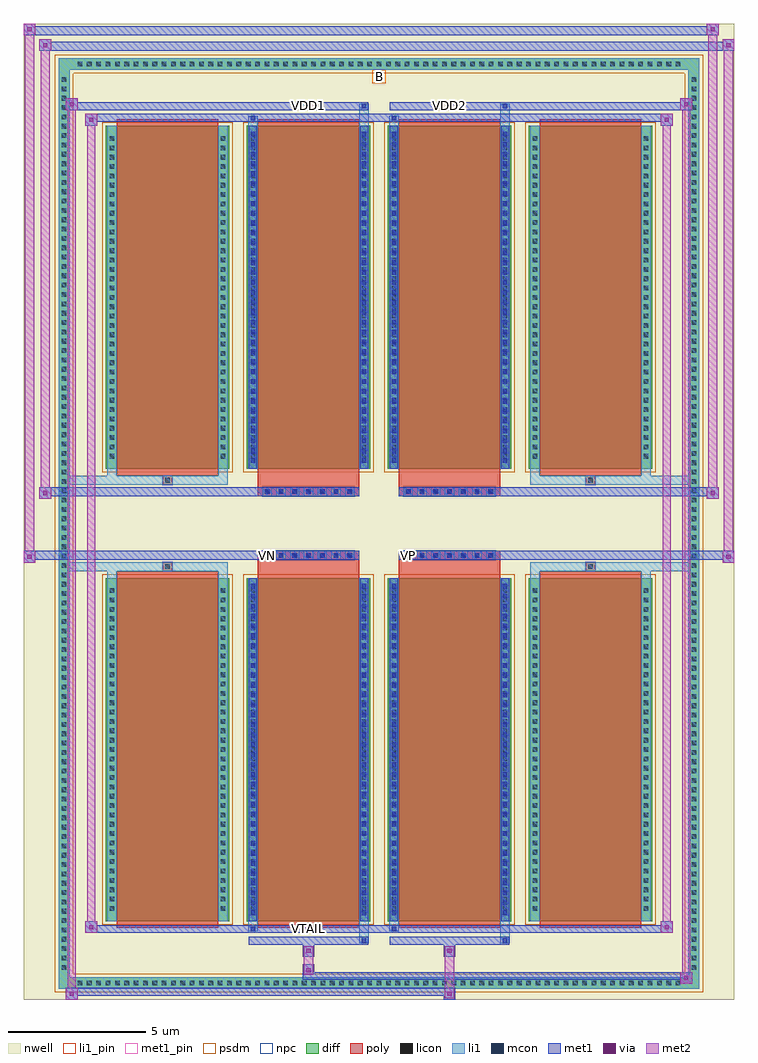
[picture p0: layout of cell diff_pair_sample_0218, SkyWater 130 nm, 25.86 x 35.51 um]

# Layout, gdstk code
import gdstk
lib = gdstk.Library(unit=1e-6, precision=5e-09)
def R(c, l, rs):  # rectangles x0, y0, x1, y1
    for r in rs: c.add(gdstk.rectangle(r[:2], r[2:], *l))
def A(c, l, x, y, w, h, nx, ny, dx, dy):  # array of equal rectangles
    R(c, l, [(x+i*dx, y+j*dy, x+i*dx+w, y+j*dy+h) for i in range(nx) for j in range(ny)])
def P(c, l, *ps):  # polygons
    for p in ps: c.add(gdstk.Polygon(p, *l))
nwell = (64, 20)
diff = (65, 20)
poly = (66, 20)
licon = (66, 44)
li1_pin = (67, 16)
li1 = (67, 20)
mcon = (67, 44)
met1_pin = (68, 16)
met1 = (68, 20)
via = (68, 44)
met2 = (69, 20)
psdm = (94, 20)
npc = (95, 20)

diff_pair_sample_0218 = lib.new_cell('diff_pair_sample_0218')
R(diff_pair_sample_0218, nwell, [(-12.93,-17.32,12.93,18.19), (-10.25,-15.51,-0.01,-0.795), (0.01,-15.51,10.25,-0.795), (-10.25,0.795,-0.01,15.51), (0.01,0.795,10.25,15.51)])
A(diff_pair_sample_0218, diff, -11.085, -16.92, 0.41, 0.41, 65, 2, 0.34, 33.43)
A(diff_pair_sample_0218, diff, -11.66, -16.355, 0.41, 0.41, 1, 96, 0, 0.34)
A(diff_pair_sample_0218, diff, 11.25, -16.355, 0.41, 0.41, 1, 96, 0, 0.34)
A(diff_pair_sample_0218, diff, -9.94, -14.465, 4.49, 12.48, 4, 2, 5.13, 16.45)
R(diff_pair_sample_0218, diff, [(-11.085,-16.92,11.085,-16.51), (-11.66,-16.355,-11.25,16.355), (11.25,-16.355,11.66,16.355), (-11.085,16.51,11.085,16.92)])
P(diff_pair_sample_0218, diff, [(11.66,16.92),(-11.66,16.92),(-11.66,-16.51),(-11.25,-16.51),(-11.25,16.51),(11.25,16.51),(11.25,-16.51),(-11.25,-16.51),(-11.66,-16.51),(-11.66,-16.92),(11.66,-16.92)])
A(diff_pair_sample_0218, poly, -9.55, -14.715, 3.71, 12.98, 4, 2, 5.13, 16.45)
A(diff_pair_sample_0218, poly, -4.23, -1.325, 0.33, 0.33, 7, 2, 0.5, 2.32)
A(diff_pair_sample_0218, poly, 0.9, -1.325, 0.33, 0.33, 7, 2, 0.5, 2.32)
R(diff_pair_sample_0218, poly, [(-7.86,-1.735,-7.53,-1.405), (-7.86,-1.735,-7.53,-1.405), (-4.42,-1.735,-0.71,-1.325), (0.71,-1.735,4.42,-1.325), (7.53,-1.735,7.86,-1.405), (7.53,-1.735,7.86,-1.405), (-4.42,-1.325,-0.71,-0.995), (0.71,-1.325,4.42,-0.995), (-4.42,0.995,-0.71,1.325), (0.71,0.995,4.42,1.325), (-4.42,1.325,-0.71,1.735), (0.71,1.325,4.42,1.735), (-7.86,1.405,-7.53,1.735), (-7.86,1.405,-7.53,1.735), (7.53,1.405,7.86,1.735), (7.53,1.405,7.86,1.735)])
A(diff_pair_sample_0218, licon, -10.965, -16.8, 0.17, 0.17, 65, 2, 0.34, 33.43)
A(diff_pair_sample_0218, licon, -11.54, -16.235, 0.17, 0.17, 1, 96, 0, 0.34)
A(diff_pair_sample_0218, licon, 11.37, -16.235, 0.17, 0.17, 1, 96, 0, 0.34)
A(diff_pair_sample_0218, licon, -9.8, -14.09, 0.17, 0.17, 1, 35, 0, 0.34)
A(diff_pair_sample_0218, licon, -5.76, -14.09, 0.17, 0.17, 1, 35, 0, 0.34)
A(diff_pair_sample_0218, licon, -4.67, -14.09, 0.17, 0.17, 1, 35, 0, 0.34)
A(diff_pair_sample_0218, licon, -0.63, -14.09, 0.17, 0.17, 1, 35, 0, 0.34)
A(diff_pair_sample_0218, licon, 0.46, -14.09, 0.17, 0.17, 1, 35, 0, 0.34)
A(diff_pair_sample_0218, licon, 4.5, -14.09, 0.17, 0.17, 1, 35, 0, 0.34)
A(diff_pair_sample_0218, licon, 5.59, -14.09, 0.17, 0.17, 1, 35, 0, 0.34)
A(diff_pair_sample_0218, licon, 9.63, -14.09, 0.17, 0.17, 1, 35, 0, 0.34)
A(diff_pair_sample_0218, licon, -4.15, -1.245, 0.17, 0.17, 7, 2, 0.5, 2.32)
A(diff_pair_sample_0218, licon, 0.98, -1.245, 0.17, 0.17, 7, 2, 0.5, 2.32)
A(diff_pair_sample_0218, licon, -9.8, 2.36, 0.17, 0.17, 1, 35, 0, 0.34)
A(diff_pair_sample_0218, licon, -5.76, 2.36, 0.17, 0.17, 1, 35, 0, 0.34)
A(diff_pair_sample_0218, licon, -4.67, 2.36, 0.17, 0.17, 1, 35, 0, 0.34)
A(diff_pair_sample_0218, licon, -0.63, 2.36, 0.17, 0.17, 1, 35, 0, 0.34)
A(diff_pair_sample_0218, licon, 0.46, 2.36, 0.17, 0.17, 1, 35, 0, 0.34)
A(diff_pair_sample_0218, licon, 4.5, 2.36, 0.17, 0.17, 1, 35, 0, 0.34)
A(diff_pair_sample_0218, licon, 5.59, 2.36, 0.17, 0.17, 1, 35, 0, 0.34)
A(diff_pair_sample_0218, licon, 9.63, 2.36, 0.17, 0.17, 1, 35, 0, 0.34)
R(diff_pair_sample_0218, licon, [(-7.78,-1.655,-7.61,-1.485), (7.61,-1.655,7.78,-1.485), (-7.78,1.485,-7.61,1.655), (7.61,1.485,7.78,1.655)])
R(diff_pair_sample_0218, li1_pin, [(-0.25,16.01,0.25,16.51)])
A(diff_pair_sample_0218, li1, -11.045, -16.88, 0.33, 0.33, 65, 2, 0.34, 33.43)
A(diff_pair_sample_0218, li1, -11.62, -16.315, 0.33, 0.33, 1, 96, 0, 0.34)
A(diff_pair_sample_0218, li1, 11.29, -16.315, 0.33, 0.33, 1, 96, 0, 0.34)
A(diff_pair_sample_0218, li1, -4.67, -14.25, 0.17, 0.17, 1, 34, 0, 0.36)
A(diff_pair_sample_0218, li1, -0.63, -14.25, 0.17, 0.17, 1, 34, 0, 0.36)
A(diff_pair_sample_0218, li1, 0.46, -14.25, 0.17, 0.17, 1, 34, 0, 0.36)
A(diff_pair_sample_0218, li1, 4.5, -14.25, 0.17, 0.17, 1, 34, 0, 0.36)
A(diff_pair_sample_0218, li1, -9.88, -14.17, 0.33, 0.33, 1, 35, 0, 0.34)
A(diff_pair_sample_0218, li1, -5.84, -14.17, 0.33, 0.33, 1, 35, 0, 0.34)
A(diff_pair_sample_0218, li1, -4.75, -14.17, 0.33, 0.33, 1, 35, 0, 0.34)
A(diff_pair_sample_0218, li1, -0.71, -14.17, 0.33, 0.33, 1, 35, 0, 0.34)
A(diff_pair_sample_0218, li1, 0.38, -14.17, 0.33, 0.33, 1, 35, 0, 0.34)
A(diff_pair_sample_0218, li1, 4.42, -14.17, 0.33, 0.33, 1, 35, 0, 0.34)
A(diff_pair_sample_0218, li1, 5.51, -14.17, 0.33, 0.33, 1, 35, 0, 0.34)
A(diff_pair_sample_0218, li1, 9.55, -14.17, 0.33, 0.33, 1, 35, 0, 0.34)
A(diff_pair_sample_0218, li1, -4.23, -1.325, 0.33, 0.33, 7, 2, 0.5, 2.32)
A(diff_pair_sample_0218, li1, 0.9, -1.325, 0.33, 0.33, 7, 2, 0.5, 2.32)
A(diff_pair_sample_0218, li1, -4.67, 2.2, 0.17, 0.17, 1, 34, 0, 0.36)
A(diff_pair_sample_0218, li1, -0.63, 2.2, 0.17, 0.17, 1, 34, 0, 0.36)
A(diff_pair_sample_0218, li1, 0.46, 2.2, 0.17, 0.17, 1, 34, 0, 0.36)
A(diff_pair_sample_0218, li1, 4.5, 2.2, 0.17, 0.17, 1, 34, 0, 0.36)
A(diff_pair_sample_0218, li1, -9.88, 2.28, 0.33, 0.33, 1, 35, 0, 0.34)
A(diff_pair_sample_0218, li1, -5.84, 2.28, 0.33, 0.33, 1, 35, 0, 0.34)
A(diff_pair_sample_0218, li1, -4.75, 2.28, 0.33, 0.33, 1, 35, 0, 0.34)
A(diff_pair_sample_0218, li1, -0.71, 2.28, 0.33, 0.33, 1, 35, 0, 0.34)
A(diff_pair_sample_0218, li1, 0.38, 2.28, 0.33, 0.33, 1, 35, 0, 0.34)
A(diff_pair_sample_0218, li1, 4.42, 2.28, 0.33, 0.33, 1, 35, 0, 0.34)
A(diff_pair_sample_0218, li1, 5.51, 2.28, 0.33, 0.33, 1, 35, 0, 0.34)
A(diff_pair_sample_0218, li1, 9.55, 2.28, 0.33, 0.33, 1, 35, 0, 0.34)
R(diff_pair_sample_0218, li1, [(-11.66,-16.92,-11.25,-16.51), (-11.66,-16.92,-11.25,-16.51), (-11.25,-16.92,11.25,-16.51), (11.25,-16.92,11.66,-16.51), (11.25,-16.92,11.66,-16.51), (-11.66,-16.51,-11.25,16.51), (11.25,-16.51,11.66,16.51), (-0.71,-15.27,-0.38,-14.465), (-0.63,-15.27,-0.46,-15.1), (4.42,-15.27,4.75,-14.465), (4.5,-15.27,4.67,-15.1), (-4.75,-14.84,-4.42,-14.465), (-4.67,-14.84,-4.5,-14.67), (0.38,-14.84,0.71,-14.465), (0.46,-14.84,0.63,-14.67), (-9.88,-14.465,-9.55,-1.985), (-5.84,-14.465,-5.51,-1.985), (-4.75,-14.465,-4.42,-1.985), (-0.71,-14.465,-0.38,-1.985), (0.38,-14.465,0.71,-1.985), (4.42,-14.465,4.75,-1.985), (5.51,-14.465,5.84,-1.985), (9.55,-14.465,9.88,-1.985), (-4.67,-14.25,-4.5,-2.2), (-0.63,-14.25,-0.46,-2.2), (0.46,-14.25,0.63,-2.2), (4.5,-14.25,4.67,-2.2), (-9.88,-1.985,-9.55,-1.405), (-5.84,-1.985,-5.51,-1.405), (5.51,-1.985,5.84,-1.405), (9.55,-1.985,9.88,-1.405), (-11.66,-1.735,-7.86,-1.405), (-9.88,-1.735,-7.86,-1.405), (-7.86,-1.735,-7.53,-1.405), (-7.53,-1.735,-5.51,-1.405), (5.51,-1.735,7.53,-1.405), (7.53,-1.735,7.86,-1.405), (7.53,-1.735,11.66,-1.405), (7.86,-1.735,9.88,-1.405), (-11.66,1.405,-7.86,1.735), (-9.88,1.405,-7.86,1.735), (-9.88,1.405,-9.55,1.985), (-7.86,1.405,-7.53,1.735), (-7.53,1.405,-5.51,1.735), (-5.84,1.405,-5.51,1.985), (5.51,1.405,7.53,1.735), (5.51,1.405,5.84,1.985), (7.53,1.405,7.86,1.735), (7.53,1.405,11.66,1.735), (7.86,1.405,9.88,1.735), (9.55,1.405,9.88,1.985), (-9.88,1.985,-9.55,14.465), (-5.84,1.985,-5.51,14.465), (-4.75,1.985,-4.42,14.465), (-0.71,1.985,-0.38,14.465), (0.38,1.985,0.71,14.465), (4.42,1.985,4.75,14.465), (5.51,1.985,5.84,14.465), (9.55,1.985,9.88,14.465), (-4.67,2.2,-4.5,14.25), (-0.63,2.2,-0.46,14.25), (0.46,2.2,0.63,14.25), (4.5,2.2,4.67,14.25), (-4.75,14.465,-4.42,14.84), (-0.71,14.465,-0.38,15.27), (0.38,14.465,0.71,14.84), (4.42,14.465,4.75,15.27), (-4.67,14.67,-4.5,14.84), (0.46,14.67,0.63,14.84), (-0.63,15.1,-0.46,15.27), (4.5,15.1,4.67,15.27), (-11.66,16.51,-11.25,16.92), (-11.66,16.51,-11.25,16.92), (-11.25,16.51,11.25,16.92), (11.25,16.51,11.66,16.92), (11.25,16.51,11.66,16.92)])
A(diff_pair_sample_0218, mcon, -4.67, -14.25, 0.17, 0.17, 1, 34, 0, 0.36)
A(diff_pair_sample_0218, mcon, -0.63, -14.25, 0.17, 0.17, 1, 34, 0, 0.36)
A(diff_pair_sample_0218, mcon, 0.46, -14.25, 0.17, 0.17, 1, 34, 0, 0.36)
A(diff_pair_sample_0218, mcon, 4.5, -14.25, 0.17, 0.17, 1, 34, 0, 0.36)
A(diff_pair_sample_0218, mcon, -4.15, -1.245, 0.17, 0.17, 7, 2, 0.5, 2.32)
A(diff_pair_sample_0218, mcon, 0.98, -1.245, 0.17, 0.17, 7, 2, 0.5, 2.32)
A(diff_pair_sample_0218, mcon, -4.67, 2.2, 0.17, 0.17, 1, 34, 0, 0.36)
A(diff_pair_sample_0218, mcon, -0.63, 2.2, 0.17, 0.17, 1, 34, 0, 0.36)
A(diff_pair_sample_0218, mcon, 0.46, 2.2, 0.17, 0.17, 1, 34, 0, 0.36)
A(diff_pair_sample_0218, mcon, 4.5, 2.2, 0.17, 0.17, 1, 34, 0, 0.36)
R(diff_pair_sample_0218, mcon, [(-0.63,-15.27,-0.46,-15.1), (4.5,-15.27,4.67,-15.1), (-4.67,-14.84,-4.5,-14.67), (0.46,-14.84,0.63,-14.67), (-4.67,14.67,-4.5,14.84), (0.46,14.67,0.63,14.84), (-0.63,15.1,-0.46,15.27), (4.5,15.1,4.67,15.27)])
R(diff_pair_sample_0218, met1_pin, [(-2.7,-14.88,-2.43,-14.61), (-4.2,-1.285,-3.93,-1.015), (0.93,-1.285,1.2,-1.015), (-2.7,15.06,-2.43,15.33), (2.43,15.06,2.7,15.33)])
A(diff_pair_sample_0218, met1, -4.73, -14.31, 0.29, 0.29, 1, 34, 0, 0.36)
A(diff_pair_sample_0218, met1, -0.69, -14.31, 0.29, 0.29, 1, 34, 0, 0.36)
A(diff_pair_sample_0218, met1, 0.4, -14.31, 0.29, 0.29, 1, 34, 0, 0.36)
A(diff_pair_sample_0218, met1, 4.44, -14.31, 0.29, 0.29, 1, 34, 0, 0.36)
A(diff_pair_sample_0218, met1, -4.21, -1.305, 0.29, 0.29, 7, 2, 0.5, 2.32)
A(diff_pair_sample_0218, met1, 0.92, -1.305, 0.29, 0.29, 7, 2, 0.5, 2.32)
A(diff_pair_sample_0218, met1, -4.73, 2.14, 0.29, 0.29, 1, 34, 0, 0.36)
A(diff_pair_sample_0218, met1, -0.69, 2.14, 0.29, 0.29, 1, 34, 0, 0.36)
A(diff_pair_sample_0218, met1, 0.4, 2.14, 0.29, 0.29, 1, 34, 0, 0.36)
A(diff_pair_sample_0218, met1, 4.44, 2.14, 0.29, 0.29, 1, 34, 0, 0.36)
R(diff_pair_sample_0218, met1, [(-11.39,-17.32,-10.96,-16.89), (2.35,-17.32,2.78,-16.89), (-11.39,-17.18,2.78,-16.89), (10.96,-16.75,11.39,-16.32), (-2.78,-16.61,11.39,-16.32), (-2.78,-16.47,-2.35,-16.04), (-2.78,-15.76,-2.35,-15.33), (2.35,-15.76,2.78,-15.33), (-4.73,-15.33,-0.4,-15.04), (-0.69,-15.33,-0.4,-15.04), (0.4,-15.33,4.73,-15.04), (4.44,-15.33,4.73,-15.04), (-10.68,-14.9,-10.25,-14.47), (-10.68,-14.9,-4.73,-14.61), (-4.73,-14.9,-4.44,-14.61), (-4.73,-14.9,-0.4,-14.61), (-0.4,-14.9,0.4,-14.61), (0.4,-14.9,0.69,-14.61), (0.4,-14.9,4.73,-14.61), (4.73,-14.9,10.68,-14.61), (10.25,-14.9,10.68,-14.47), (-4.73,-14.465,-4.44,-1.985), (-0.69,-14.465,-0.4,-1.985), (0.4,-14.465,0.69,-1.985), (4.44,-14.465,4.73,-1.985), (-12.93,-1.425,-12.5,-0.995), (12.5,-1.425,12.93,-0.995), (-12.93,-1.325,-0.71,-0.995), (-4.42,-1.325,-0.71,-0.995), (0.71,-1.325,4.42,-0.995), (0.71,-1.325,12.93,-0.995), (-12.36,0.895,-11.93,1.325), (11.93,0.895,12.36,1.325), (-12.36,0.995,-4.42,1.325), (-4.42,0.995,-0.71,1.325), (0.71,0.995,4.42,1.325), (4.42,0.995,12.36,1.325), (-4.73,1.985,-4.44,14.465), (-0.69,1.985,-0.4,14.465), (0.4,1.985,0.69,14.465), (4.44,1.985,4.73,14.465), (-10.68,14.47,-10.25,14.9), (10.25,14.47,10.68,14.9), (-10.68,14.61,-4.73,14.9), (-4.73,14.61,-4.44,14.9), (-4.73,14.61,-0.4,14.9), (-0.4,14.61,0.4,14.9), (0.4,14.61,0.69,14.9), (0.4,14.61,4.73,14.9), (4.73,14.61,10.68,14.9), (-11.39,15.04,-10.96,15.47), (-11.39,15.04,-4.73,15.33), (-4.73,15.04,-0.4,15.33), (-0.69,15.04,-0.4,15.33), (0.4,15.04,4.73,15.33), (4.44,15.04,4.73,15.33), (4.73,15.04,11.39,15.33), (10.96,15.04,11.39,15.47), (-12.36,17.19,-11.93,17.62), (-12.36,17.19,-10.25,17.52), (-10.25,17.19,10.25,17.52), (10.25,17.19,12.93,17.52), (12.5,17.19,12.93,17.62), (-12.93,17.76,-12.5,18.19), (-12.93,17.76,-10.25,18.09), (-10.25,17.76,10.25,18.09), (10.25,17.76,12.36,18.09), (11.93,17.76,12.36,18.19)])
R(diff_pair_sample_0218, via, [(-11.25,-17.18,-11.1,-17.03), (2.49,-17.18,2.64,-17.03), (11.1,-16.61,11.25,-16.46), (-2.64,-16.33,-2.49,-16.18), (-2.64,-15.62,-2.49,-15.47), (2.49,-15.62,2.64,-15.47), (-10.54,-14.76,-10.39,-14.61), (10.39,-14.76,10.54,-14.61), (-12.79,-1.285,-12.64,-1.135), (12.64,-1.285,12.79,-1.135), (-12.22,1.035,-12.07,1.185), (12.07,1.035,12.22,1.185), (-10.54,14.61,-10.39,14.76), (10.39,14.61,10.54,14.76), (-11.25,15.18,-11.1,15.33), (11.1,15.18,11.25,15.33), (-12.22,17.33,-12.07,17.48), (12.64,17.33,12.79,17.48), (-12.79,17.9,-12.64,18.05), (12.07,17.9,12.22,18.05)])
R(diff_pair_sample_0218, met2, [(-11.39,-17.32,-10.96,-16.89), (-11.32,-17.32,-11.03,15.47), (-11.03,-17.32,-10.96,-16.89), (-11.34,-17.27,-11.01,-16.94), (2.4,-17.27,2.73,-16.94), (2.4,-16.94,2.73,-15.71), (10.96,-16.75,11.39,-16.32), (11.03,-16.75,11.32,15.47), (11.32,-16.75,11.39,-16.32), (11.01,-16.7,11.34,-16.37), (-2.73,-16.42,-2.4,-16.09), (-2.73,-16.09,-2.4,-15.71), (-2.73,-15.71,-2.4,-15.38), (2.4,-15.71,2.73,-15.38), (-10.68,-14.9,-10.25,-14.47), (-10.61,-14.9,-10.32,14.9), (-10.32,-14.9,-10.25,-14.47), (10.25,-14.9,10.68,-14.47), (10.32,-14.9,10.61,14.9), (10.61,-14.9,10.68,-14.47), (-10.63,-14.85,-10.3,-14.52), (10.3,-14.85,10.63,-14.52), (-12.93,-1.425,-12.5,-0.995), (-12.88,-1.425,-12.55,18.19), (-12.55,-1.425,-12.5,-0.995), (12.5,-1.425,12.93,-0.995), (12.55,-1.425,12.88,17.62), (12.88,-1.425,12.93,-0.995), (-12.88,-1.375,-12.55,-1.045), (12.55,-1.375,12.88,-1.045), (-12.36,0.895,-11.93,1.325), (-12.31,0.895,-11.98,17.62), (-11.98,0.895,-11.93,1.325), (11.93,0.895,12.36,1.325), (11.98,0.895,12.31,18.19), (12.31,0.895,12.36,1.325), (-12.31,0.945,-11.98,1.275), (11.98,0.945,12.31,1.275), (-10.68,14.47,-10.25,14.9), (-10.32,14.47,-10.25,14.9), (10.25,14.47,10.68,14.9), (10.61,14.47,10.68,14.9), (-10.63,14.52,-10.3,14.85), (10.3,14.52,10.63,14.85), (-11.39,15.04,-10.96,15.47), (-11.03,15.04,-10.96,15.47), (10.96,15.04,11.39,15.47), (11.32,15.04,11.39,15.47), (-11.34,15.09,-11.01,15.42), (11.01,15.09,11.34,15.42), (-12.36,17.19,-11.93,17.62), (-11.98,17.19,-11.93,17.62), (12.5,17.19,12.93,17.62), (12.88,17.19,12.93,17.62), (-12.31,17.24,-11.98,17.57), (12.55,17.24,12.88,17.57), (-12.93,17.76,-12.5,18.19), (-12.55,17.76,-12.5,18.19), (11.93,17.76,12.36,18.19), (12.31,17.76,12.36,18.19), (-12.88,17.81,-12.55,18.14), (11.98,17.81,12.31,18.14)])
A(diff_pair_sample_0218, psdm, -10.07, -14.595, 4.75, 12.74, 4, 2, 5.13, 16.45)
P(diff_pair_sample_0218, psdm, [(11.79,17.05),(-11.79,17.05),(-11.79,-16.38),(-11.12,-16.38),(-11.12,16.38),(11.12,16.38),(11.12,-16.38),(-11.12,-16.38),(-11.79,-16.38),(-11.79,-17.05),(11.79,-17.05)])
A(diff_pair_sample_0218, npc, -4.25, -1.345, 0.37, 0.37, 7, 2, 0.5, 2.32)
A(diff_pair_sample_0218, npc, 0.88, -1.345, 0.37, 0.37, 7, 2, 0.5, 2.32)
R(diff_pair_sample_0218, npc, [(-7.88,-1.755,-7.51,-1.385), (7.51,-1.755,7.88,-1.385), (-4.25,-1.345,-3.38,-0.975), (-4.25,-1.345,-3.38,-0.975), (-3.75,-1.345,-2.88,-0.975), (-3.75,-1.345,-2.88,-0.975), (-3.25,-1.345,-2.38,-0.975), (-3.25,-1.345,-2.38,-0.975), (-2.75,-1.345,-1.88,-0.975), (-2.75,-1.345,-1.88,-0.975), (-2.25,-1.345,-1.38,-0.975), (-2.25,-1.345,-1.38,-0.975), (-1.75,-1.345,-0.88,-0.975), (-1.75,-1.345,-0.88,-0.975), (0.88,-1.345,1.75,-0.975), (0.88,-1.345,1.75,-0.975), (1.38,-1.345,2.25,-0.975), (1.38,-1.345,2.25,-0.975), (1.88,-1.345,2.75,-0.975), (1.88,-1.345,2.75,-0.975), (2.38,-1.345,3.25,-0.975), (2.38,-1.345,3.25,-0.975), (2.88,-1.345,3.75,-0.975), (2.88,-1.345,3.75,-0.975), (3.38,-1.345,4.25,-0.975), (3.38,-1.345,4.25,-0.975), (-4.25,0.975,-3.38,1.345), (-4.25,0.975,-3.38,1.345), (-3.75,0.975,-2.88,1.345), (-3.75,0.975,-2.88,1.345), (-3.25,0.975,-2.38,1.345), (-3.25,0.975,-2.38,1.345), (-2.75,0.975,-1.88,1.345), (-2.75,0.975,-1.88,1.345), (-2.25,0.975,-1.38,1.345), (-2.25,0.975,-1.38,1.345), (-1.75,0.975,-0.88,1.345), (-1.75,0.975,-0.88,1.345), (0.88,0.975,1.75,1.345), (0.88,0.975,1.75,1.345), (1.38,0.975,2.25,1.345), (1.38,0.975,2.25,1.345), (1.88,0.975,2.75,1.345), (1.88,0.975,2.75,1.345), (2.38,0.975,3.25,1.345), (2.38,0.975,3.25,1.345), (2.88,0.975,3.75,1.345), (2.88,0.975,3.75,1.345), (3.38,0.975,4.25,1.345), (3.38,0.975,4.25,1.345), (-7.88,1.385,-7.51,1.755), (7.51,1.385,7.88,1.755)])
diff_pair_sample_0218.add(gdstk.Label('VTAIL', (-2.565,-14.745), layer=68, texttype=5))
diff_pair_sample_0218.add(gdstk.Label('VN', (-4.065,-1.15), layer=68, texttype=5))
diff_pair_sample_0218.add(gdstk.Label('VP', (1.065,-1.15), layer=68, texttype=5))
diff_pair_sample_0218.add(gdstk.Label('B', (0,16.26), layer=67, texttype=5))
diff_pair_sample_0218.add(gdstk.Label('VDD2', (2.565,15.195), layer=68, texttype=5))
diff_pair_sample_0218.add(gdstk.Label('VDD1', (-2.565,15.195), layer=68, texttype=5))

lib.write_gds('diff_pair_sample_0218.gds')
